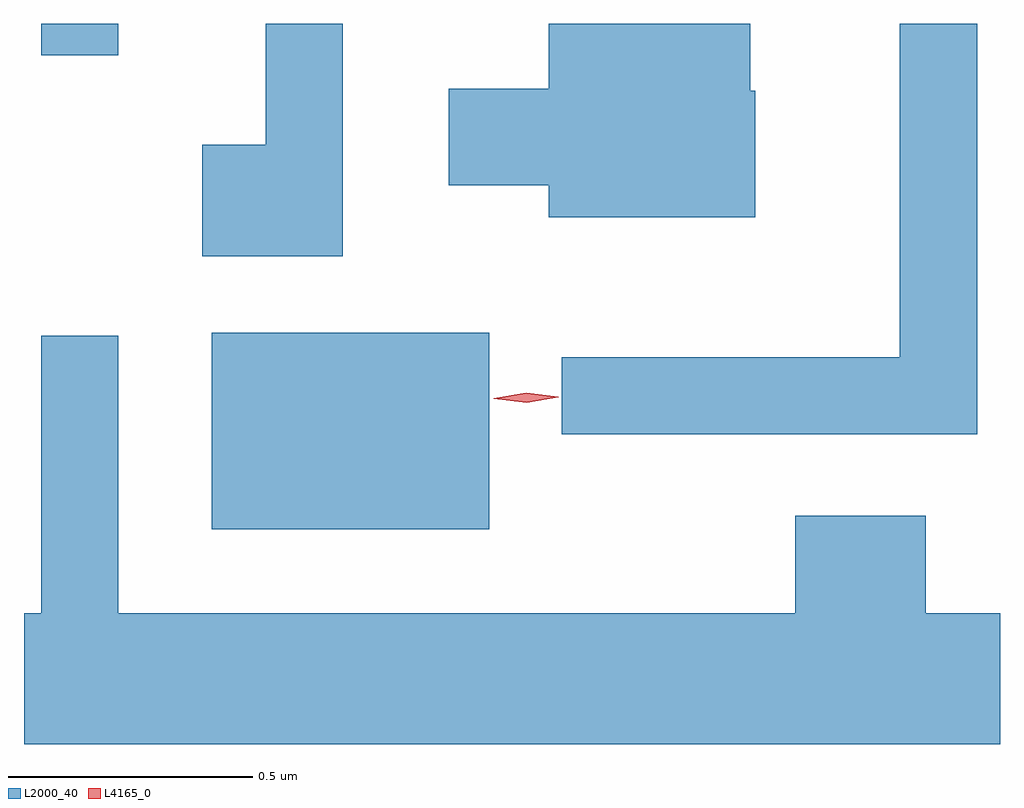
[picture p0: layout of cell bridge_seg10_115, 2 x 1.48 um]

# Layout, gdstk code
import gdstk
lib = gdstk.Library(unit=1e-6, precision=1e-09)
def R(c, l, rs):  # rectangles x0, y0, x1, y1
    for r in rs: c.add(gdstk.rectangle(r[:2], r[2:], *l))
def P(c, l, *ps):  # polygons
    for p in ps: c.add(gdstk.Polygon(p, *l))
L2000_40 = (2000, 40)
L4165_0 = (4165, 0)

bridge_seg10_115 = lib.new_cell('bridge_seg10_115')
R(bridge_seg10_115, L2000_40, [(1498.126,2156.536,1498.694,2156.939), (1497.776,2157.508,1497.934,2157.572)])
P(bridge_seg10_115, L2000_40, [(1499.239,2157.435),(1499.229,2157.435),(1499.229,2157.572),(1498.816,2157.572),(1498.816,2157.439),(1498.611,2157.439),(1498.611,2157.241),(1498.816,2157.241),(1498.816,2157.176),(1499.239,2157.176)],
  [(1499.694,2157.572),(1499.536,2157.572),(1499.536,2156.889),(1498.843,2156.889),(1498.843,2156.731),(1499.694,2156.731)],
  [(1498.394,2157.572),(1498.236,2157.572),(1498.236,2157.324),(1498.106,2157.324),(1498.106,2157.096),(1498.394,2157.096)],
  [(1499.741,2156.364),(1499.589,2156.364),(1499.589,2156.564),(1499.321,2156.564),(1499.321,2156.364),(1497.934,2156.364),(1497.934,2156.933),(1497.776,2156.933),(1497.776,2156.364),(1497.741,2156.364),(1497.741,2156.096),(1499.741,2156.096)])
P(bridge_seg10_115, L4165_0, [(1498.771,2156.796),(1498.704,2156.804),(1498.704,2156.805),(1498.704,2156.805),(1498.77,2156.816),(1498.836,2156.808),(1498.837,2156.807),(1498.836,2156.807)])

lib.write_gds('bridge_seg10_115.gds')
